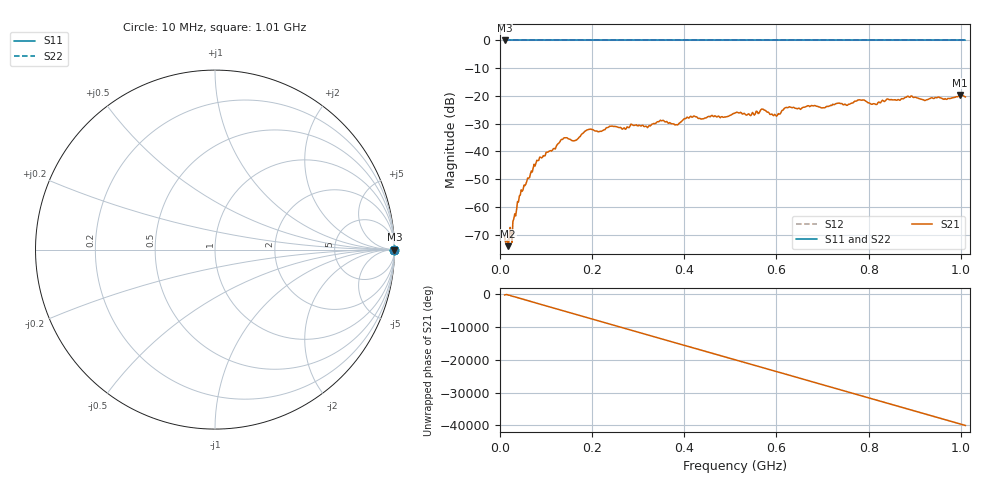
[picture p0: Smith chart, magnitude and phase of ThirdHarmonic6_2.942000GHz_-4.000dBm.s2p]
! 8/17/2025 8:14:48 AM
! C:\ANRITSUVNA\TEMP\TEMP.S2P
! CHANNEL.1
! TR.MEASUREMENT
! RAW.DATA
! RF.CORRECTION.OFF
! AVERAGING.OFF
! IF.BANDWIDTH: 5KHZ
! SWEEPTYPE:  FREQ.SWEEP(Linear)
! Reference Plane Port Info
! PORT:  PORT1  PORT2
! DISTANCE:  0  m  0  m
! TIME:  0  s  0  s
! PHASE.OFFSET:  0  deg.  0  deg.
! LOSS:  0  dB  0  dB
! REF.LOSS:  0  dB  0  dB
! REF.FREQ:  0  Hz  0  Hz
! Power Info
! POWER:  -20  dBm  -20  dBm
! EFF.POWER:  -20  dBm  -20  dBm
! SOURCE.ATTEN:  0  dB  0  dB
! TEST.ATTEN:  0  dB  0  dB
# GHZ S RI R 50.0
! FREQ.GHZ  S11RE  S11IM  S21RE  S21IM  S12RE  S12IM  S22RE  S22IM
!; PortSelection: Port_12
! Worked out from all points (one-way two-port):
!   501 points, 10 MHz to 1.01 GHz, reference 50 ohm
!   highest |S21| = -19.70 dB at 998 MHz (marker M1); lowest = -74.2 dB at 18 MHz (marker M2)
!   lowest |S11| = 0.0 dB at 10 MHz (marker M3)
!   |S11| at or under -10 dB: nowhere
!   |S22| runs from 0.0 to 0.0 dB; largest |S21 - S12| = 1.1
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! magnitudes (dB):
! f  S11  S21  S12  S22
! 10 MHz  0.0  -70.9  0.0  0.0
! 18 MHz  0.0  -74.2  0.0  0.0
! 22 MHz  0.0  -67.4  0.0  0.0
! 42 MHz  0.0  -56.1  0.0  0.0
! 78 MHz  0.0  -44.3  0.0  0.0
! 136 MHz  0.0  -35.7  0.0  0.0
! 162 MHz  0.0  -36.1  0.0  0.0
! 178 MHz  0.0  -33.7  0.0  0.0
! 194 MHz  0.0  -32.1  0.0  0.0
! 318 MHz  0.0  -31.0  0.0  0.0
! 344 MHz  0.0  -29.4  0.0  0.0
! 382 MHz  0.0  -30.4  0.0  0.0
! 410 MHz  0.0  -28.0  0.0  0.0
! 510 MHz  0.0  -26.2  0.0  0.0
! 540 MHz  0.0  -26.5  0.0  0.0
! 570 MHz  0.0  -24.8  0.0  0.0
! 598 MHz  0.0  -26.9  0.0  0.0
! 624 MHz  0.0  -24.2  0.0  0.0
! 678 MHz  0.0  -23.5  0.0  0.0
! 844 MHz  0.0  -21.3  0.0  0.0
! 998 MHz  0.0  -19.7  0.0  0.0
! 1.01 GHz  0.0  -20.4  0.0  0.0
